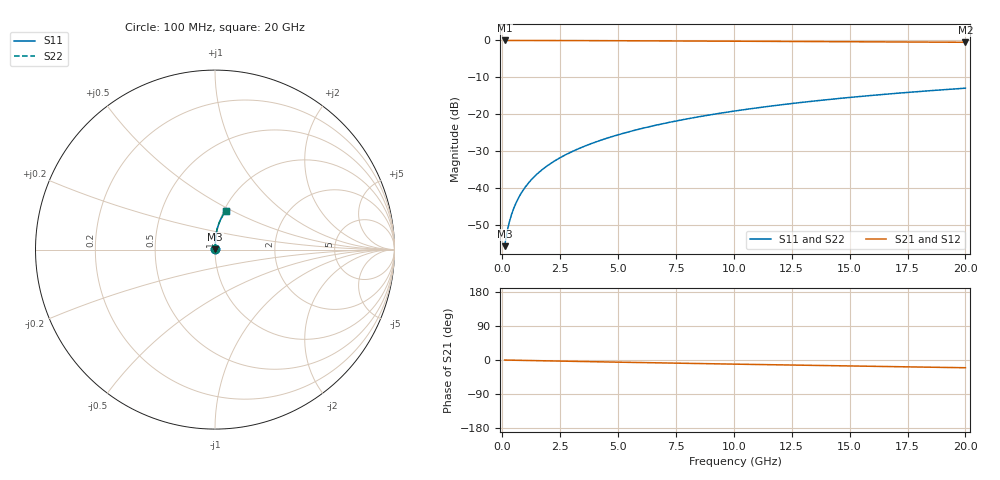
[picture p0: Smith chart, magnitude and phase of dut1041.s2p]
! Touchstone file exported from HFSS 2024.1.0
!  File:  C:/UserFiles/LocalFiles/RDL_TSV_Batchsim/temp_RDL_bottom_1041_1780051572.aedt
!  Generated:  06:48:28 PM May 29, 2026
!  Design:  RDL_bottom
!  Project:  temp_RDL_bottom_1041_1780051572
!  Setup:  Setup1
!  Solution:  Sweep
! Variables:
!  dtsv = 10.80580581um
!  hbump = 3um
!  htsv = 75.57um
!  ldown = 251.97um
!  lrdl = 100um
!  p = 40
!  p1 = 51.91um
!  rhole = 1um
!  t = 450um
!  tdown = 4.14um
!  trdl = 3.915915916um
!  wdown = 20.62um
!  wrdl = 20um
# GHz S MA R 50.000000
! Terminal data exported
! Port[1] = RDL1_T1
! Port[2] = RDL1_T2
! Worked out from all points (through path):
!   200 points, 100 MHz to 20 GHz, reference 50 ohm
!   highest |S21| = -0.01 dB at 100 MHz (marker M1); lowest = -0.5 dB at 20 GHz (marker M2)
!   group delay of S21, straight-line fit = 2.81 ps
!   lowest |S11| = -55.7 dB at 100 MHz (marker M3), VSWR 1.00, Z = 50.1 + j0.111 ohm
!   |S11| at or under -10 dB: start of sweep to end of sweep
!   |S22| runs from -55.7 to -12.9 dB; largest |S21 - S12| = 2.6e-15
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0.1  0.001646 42.1  0.9988 -0.1  0.9988 -0.1  0.001646 42.1
! Gamma 0 0 0 0
! Port Impedance 50 0 50 0
0.2  0.002511 59.4  0.9987 -0.2  0.9987 -0.2  0.002511 59.4
0.3  0.003453 67.5  0.9986 -0.4  0.9986 -0.4  0.003453 67.5
0.4  0.004419 72.2  0.9986 -0.5  0.9986 -0.5  0.004419 72.2
0.5  0.005402 75.3  0.9985 -0.6  0.9985 -0.6  0.005402 75.3
0.6  0.006396 77.5  0.9984 -0.7  0.9984 -0.7  0.006396 77.5
0.8  0.008405 80.4  0.9983 -0.9  0.9983 -0.9  0.008405 80.4
1.1  0.01145 82.9  0.9981 -1.3  0.9981 -1.3  0.01145 82.9
1.5  0.01555 84.7  0.9977 -1.8  0.9977 -1.8  0.01555 84.7
1.8  0.01864 85.5  0.9973 -2.1  0.9973 -2.1  0.01864 85.5
2.1  0.02175 86.1  0.9969 -2.5  0.9969 -2.5  0.02175 86.1
2.7  0.02802 86.8  0.9959 -3.1  0.9959 -3.1  0.02802 86.8
3.5  0.03651 87.3  0.9943 -4.1  0.9943 -4.1  0.03651 87.3
4.2  0.04406 87.5  0.9926 -4.8  0.9926 -4.8  0.04406 87.5
5  0.05285 87.4  0.9906 -5.7  0.9906 -5.7  0.05285 87.4
5.9  0.06292 87.2  0.9881 -6.7  0.9881 -6.7  0.06292 87.2
6.8  0.07316 86.8  0.9854 -7.6  0.9854 -7.6  0.07316 86.8
8.4  0.0917 85.8  0.9806 -9.3  0.9806 -9.3  0.09171 85.8
10.1  0.1117 84.4  0.9754 -11.0  0.9754 -11.0  0.1117 84.4
13.4  0.1506 81.2  0.9651 -14.2  0.9651 -14.2  0.1506 81.2
16.7  0.1888 77.7  0.9546 -17.3  0.9546 -17.3  0.1888 77.7
20  0.2258 74.3  0.9437 -20.4  0.9437 -20.4  0.2258 74.3
